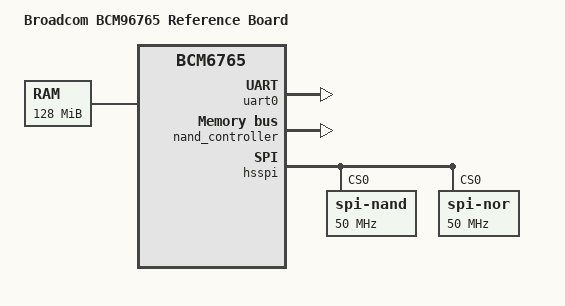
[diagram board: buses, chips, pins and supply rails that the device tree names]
// SPDX-License-Identifier: GPL-2.0+
/*
 * Copyright 2021 Broadcom Ltd.
 */


/dts-v1/;

#include "bcm6765.dtsi"

/ {
	model = "Broadcom BCM96765 Reference Board";
	compatible = "brcm,bcm96765", "brcm,bcm6765", "brcm,bcmbca";

	aliases {
		serial0 = &uart0;
		spi1 = &hsspi;
	};

	chosen {
		stdout-path = "serial0:115200n8";
	};

	memory {
		device_type = "memory";
		reg = <0x0 0x0 0x0 0x08000000>;
	};
};

&uart0 {
	status = "okay";
};

&nand_controller {
	brcm,wp-not-connected;
	status = "okay";
};

&nandcs {
	nand-on-flash-bbt;
	brcm,nand-ecc-use-strap;
};

&hsspi {
	status = "okay";
	spi-nand {
		compatible = "spi-nand";
		reg = <0>;
		pinctrl-0 = <&spim_ss0_b_pin_43>;
		pinctrl-names = "default";
		#address-cells = <1>;
		#size-cells = <0>;
		bootph-all;
		spi-max-frequency = <50000000>;
	};
	spi-nor@0 {
		pinctrl-0 = <&spim_ss0_b_pin_43>;
		pinctrl-names = "default";
		compatible = "jedec,spi-nor";
		reg = <0>;
		#address-cells = <1>;
		#size-cells = <0>;
		spi-max-frequency = <50000000>;
		bootph-all;
	};
};
